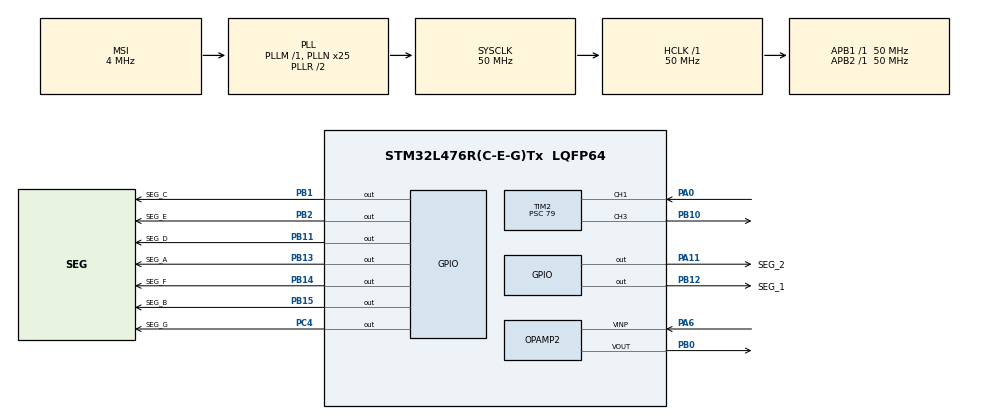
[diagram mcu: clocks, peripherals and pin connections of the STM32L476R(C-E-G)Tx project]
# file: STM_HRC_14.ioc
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ADC1.Channel-1\#ChannelRegularConversion=ADC_CHANNEL_15
ADC1.ContinuousConvMode=ENABLE
ADC1.NbrOfConversionFlag=1
ADC1.OffsetNumber-1\#ChannelRegularConversion=ADC_OFFSET_NONE
ADC1.Overrun=ADC_OVR_DATA_OVERWRITTEN
ADC1.Rank-1\#ChannelRegularConversion=1
ADC1.SamplingTime-1\#ChannelRegularConversion=ADC_SAMPLETIME_640CYCLES_5
ADC1.master=1
Mcu.Family=STM32L4
Mcu.Name=STM32L476R(C-E-G)Tx
Mcu.Package=LQFP64
NVIC.PriorityGroup=NVIC_PRIORITYGROUP_4
NVIC.TIM2_IRQn=true\:10\:0\:true\:false\:true\:true\:true\:true
NVIC.TIM6_DAC_IRQn=true\:10\:0\:true\:false\:true\:true\:true\:true
OPAMP2.PgaGain=OPAMP_PGA_GAIN_4
OPAMP2.PowerSupplyRange=OPAMP_POWERSUPPLY_HIGH
PA0.Signal=S_TIM2_CH1
PA11.GPIO_Label=SEG_2
PA11.GPIO_ModeDefaultOutputPP=GPIO_MODE_OUTPUT_OD
PA11.GPIO_PuPd=GPIO_NOPULL
PA11.PinState=GPIO_PIN_SET
PA11.Signal=GPIO_Output
PA13\ (JTMS-SWDIO).Mode=Serial_Wire
PA13\ (JTMS-SWDIO).Signal=SYS_JTMS-SWDIO
PA14\ (JTCK-SWCLK).Mode=Serial_Wire
PA14\ (JTCK-SWCLK).Signal=SYS_JTCK-SWCLK
PA6.Mode=PGA Not Connected
PA6.Signal=OPAMP2_VINP
PB0.Signal=SharedAnalog_PB0
PB1.GPIO_Label=SEG_C
PB1.Signal=GPIO_Output
PB10.Signal=S_TIM2_CH3
PB11.GPIO_Label=SEG_D
PB11.Signal=GPIO_Output
PB12.GPIO_Label=SEG_1
PB12.GPIO_ModeDefaultOutputPP=GPIO_MODE_OUTPUT_OD
PB12.GPIO_PuPd=GPIO_NOPULL
PB12.PinState=GPIO_PIN_SET
PB12.Signal=GPIO_Output
PB13.GPIO_Label=SEG_A
PB13.Signal=GPIO_Output
PB14.GPIO_Label=SEG_F
PB14.Signal=GPIO_Output
PB15.GPIO_Label=SEG_B
PB15.Signal=GPIO_Output
PB2.GPIO_Label=SEG_E
PB2.Signal=GPIO_Output
PC4.GPIO_Label=SEG_G
PC4.Signal=GPIO_Output
ProjectManager.HeapSize=0x200
ProjectManager.StackSize=0x400
ProjectManager.TargetToolchain=STM32CubeIDE
RCC.ADCFreq_Value=32000000
RCC.AHBFreq_Value=50000000
RCC.APB1Freq_Value=50000000
RCC.APB1TimFreq_Value=50000000
RCC.APB2Freq_Value=50000000
RCC.APB2TimFreq_Value=50000000
RCC.CortexFreq_Value=50000000
RCC.HCLKFreq_Value=50000000
RCC.HSE_VALUE=8000000
RCC.HSI_VALUE=16000000
RCC.LSE_VALUE=32768
RCC.MSI_VALUE=4000000
RCC.PLLN=25
RCC.PLLSAI1N=16
RCC.SYSCLKFreq_VALUE=50000000
RCC.SYSCLKSource=RCC_SYSCLKSOURCE_PLLCLK
RCC.USBFreq_Value=32000000
RCC.VCOOutputFreq_Value=100000000
SH.S_TIM2_CH1.0=TIM2_CH1,Input_Capture1_from_TI1
SH.S_TIM2_CH3.0=TIM2_CH3,PWM Generation3 CH3
SH.SharedAnalog_PB0.0=ADC1_IN15
SH.SharedAnalog_PB0.1=OPAMP2_VOUT,PGA Not Connected
TIM2.Channel-Input_Capture1_from_TI1=TIM_CHANNEL_1
TIM2.Channel-Input_Capture2_from_TI1_63=TIM_CHANNEL_2
TIM2.Channel-PWM\ Generation3\ CH3=TIM_CHANNEL_3
TIM2.ICPolarity_CH1=TIM_INPUTCHANNELPOLARITY_RISING
TIM2.ICPolarity_CH2=TIM_INPUTCHANNELPOLARITY_FALLING
TIM2.Period=99999
TIM2.Prescaler=79
TIM2.Pulse-PWM\ Generation3\ CH3=10
TIM6.Period=99
TIM6.Prescaler=7999
VP_ADC1_OPAMP2_OUT.Mode=IN15-OPAMP2-Single-Ended
VP_TIM2_VS_ClockSourceINT.Mode=Internal
VP_TIM2_VS_indirect_ch1.Mode=Input_Capture2_from_TI1_63
VP_TIM6_VS_ClockSourceINT.Mode=Enable_Timer
board=custom

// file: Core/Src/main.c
/* USER CODE BEGIN Header */
/**
  ******************************************************************************
  * @file           : main.c
  * @brief          : Main program body
  ******************************************************************************
  * @attention
  *
  * Copyright (c) 2024 STMicroelectronics.
  * All rights reserved.
  *
  * This software is licensed under terms that can be found in the LICENSE file
  * in the root directory of this software component.
  * If no LICENSE file comes with this software, it is provided AS-IS.
  *
  ******************************************************************************
  */
/* USER CODE END Header */
#include "main.h"
#include "adc.h"
#include "opamp.h"
#include "tim.h"
#include "gpio.h"

/* USER CODE BEGIN Includes */
#include <stdio.h>
#include "seg7.h"
/* USER CODE END Includes */

void SystemClock_Config(void);

/* USER CODE BEGIN 0 */
static float calc_sound_speed(void)
{
	  uint32_t adc_value = HAL_ADC_GetValue(&hadc1);
	  float temp = adc_value * 330.0f / 4096.0f;
	  return 331.8f + 0.6f * temp;
}
void USER_HAL_INIT(void)
{
	HAL_TIM_Base_Start_IT(&htim6);
	HAL_TIM_Base_Start_IT(&htim2);
	HAL_TIM_IC_Start(&htim2, TIM_CHANNEL_1);
	HAL_TIM_IC_Start(&htim2, TIM_CHANNEL_2);
	HAL_TIM_PWM_Start(&htim2, TIM_CHANNEL_3);

	HAL_ADCEx_Calibration_Start(&hadc1, ADC_SINGLE_ENDED);
	HAL_ADC_Start(&hadc1);
	HAL_OPAMP_SelfCalibrate(&hopamp2);
	HAL_OPAMP_Start(&hopamp2);
}
void HAL_TIM_PeriodElapsedCallback(TIM_HandleTypeDef *htim)
{
	if(htim == &htim6)
	{
		seg7_update();
	} else if(htim == &htim2)
	{
		uint32_t start = HAL_TIM_ReadCapturedValue(&htim2, TIM_CHANNEL_1);
		uint32_t stop = HAL_TIM_ReadCapturedValue(&htim2, TIM_CHANNEL_2);
		seg7_show((stop - start) * calc_sound_speed() / 20000.0f);
	}
}
/* USER CODE END 0 */

int main(void)
{

  /* MCU Configuration--------------------------------------------------------*/

  /* Reset of all peripherals, Initializes the Flash interface and the Systick. */
  HAL_Init();

  /* Configure the system clock */
  SystemClock_Config();

  /* Initialize all configured peripherals */
  MX_GPIO_Init();
  MX_TIM2_Init();
  MX_TIM6_Init();
  MX_OPAMP2_Init();
  MX_ADC1_Init();

  /* Infinite loop */
  /* USER CODE BEGIN WHILE */
  USER_HAL_INIT();
  while (1)
  {
    /* USER CODE END WHILE */

  }
}

void SystemClock_Config(void)
{
  RCC_OscInitTypeDef RCC_OscInitStruct = {0};
  RCC_ClkInitTypeDef RCC_ClkInitStruct = {0};

  /** Configure the main internal regulator output voltage
  */
  if (HAL_PWREx_ControlVoltageScaling(PWR_REGULATOR_VOLTAGE_SCALE1) != HAL_OK)
  {
    Error_Handler();
  }

  /** Initializes the RCC Oscillators according to the specified parameters
  * in the RCC_OscInitTypeDef structure.
  */
  RCC_OscInitStruct.OscillatorType = RCC_OSCILLATORTYPE_MSI;
  RCC_OscInitStruct.MSIState = RCC_MSI_ON;
  RCC_OscInitStruct.MSICalibrationValue = 0;
  RCC_OscInitStruct.MSIClockRange = RCC_MSIRANGE_6;
  RCC_OscInitStruct.PLL.PLLState = RCC_PLL_ON;
  RCC_OscInitStruct.PLL.PLLSource = RCC_PLLSOURCE_MSI;
  RCC_OscInitStruct.PLL.PLLM = 1;
  RCC_OscInitStruct.PLL.PLLN = 25;
  RCC_OscInitStruct.PLL.PLLP = RCC_PLLP_DIV7;
  RCC_OscInitStruct.PLL.PLLQ = RCC_PLLQ_DIV2;
  RCC_OscInitStruct.PLL.PLLR = RCC_PLLR_DIV2;
  if (HAL_RCC_OscConfig(&RCC_OscInitStruct) != HAL_OK)
  {
    Error_Handler();
  }

  /** Initializes the CPU, AHB and APB buses clocks
  */
  RCC_ClkInitStruct.ClockType = RCC_CLOCKTYPE_HCLK|RCC_CLOCKTYPE_SYSCLK
                              |RCC_CLOCKTYPE_PCLK1|RCC_CLOCKTYPE_PCLK2;
  RCC_ClkInitStruct.SYSCLKSource = RCC_SYSCLKSOURCE_PLLCLK;
  RCC_ClkInitStruct.AHBCLKDivider = RCC_SYSCLK_DIV1;
  RCC_ClkInitStruct.APB1CLKDivider = RCC_HCLK_DIV1;
  RCC_ClkInitStruct.APB2CLKDivider = RCC_HCLK_DIV1;

  if (HAL_RCC_ClockConfig(&RCC_ClkInitStruct, FLASH_LATENCY_3) != HAL_OK)
  {
    Error_Handler();
  }
}

void Error_Handler(void)
{
  __disable_irq();
  while (1)
  {
  }
}
